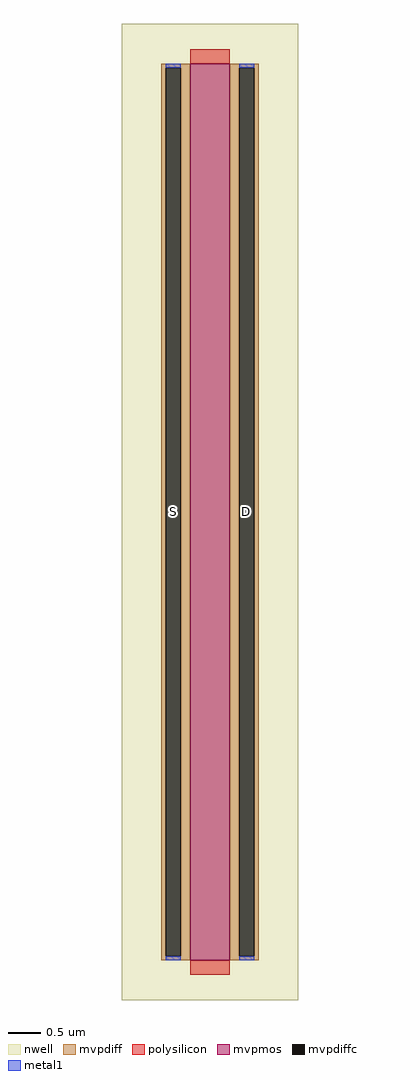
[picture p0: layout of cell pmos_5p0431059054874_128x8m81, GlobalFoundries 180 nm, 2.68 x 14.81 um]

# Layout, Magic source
magic
tech gf180mcuB
magscale 1 10
<< nwell >>
rect -208 -120 328 2842
<< mvpmos >>
rect 0 0 120 2722
<< mvpdiff >>
rect -88 2709 0 2722
rect -88 13 -75 2709
rect -29 13 0 2709
rect -88 0 0 13
rect 120 2709 208 2722
rect 120 13 149 2709
rect 195 13 208 2709
rect 120 0 208 13
<< mvpdiffc >>
rect -75 13 -29 2709
rect 149 13 195 2709
<< polysilicon >>
rect 0 2722 120 2766
rect 0 -44 120 0
<< metal1 >>
rect -75 2709 -29 2722
rect -75 0 -29 13
rect 149 2709 195 2722
rect 149 0 195 13
<< labels >>
flabel metal1 s -52 1361 -52 1361 0 FreeSans 400 0 0 0 S
flabel metal1 s 172 1361 172 1361 0 FreeSans 400 0 0 0 D
<< properties >>
string GDS_END 39916
string GDS_FILE $PDKPATH/libs.ref/gf180mcu_fd_ip_sram/gds/gf180mcu_fd_ip_sram__sram128x8m8wm1.gds
string GDS_START 35500
<< end >>
